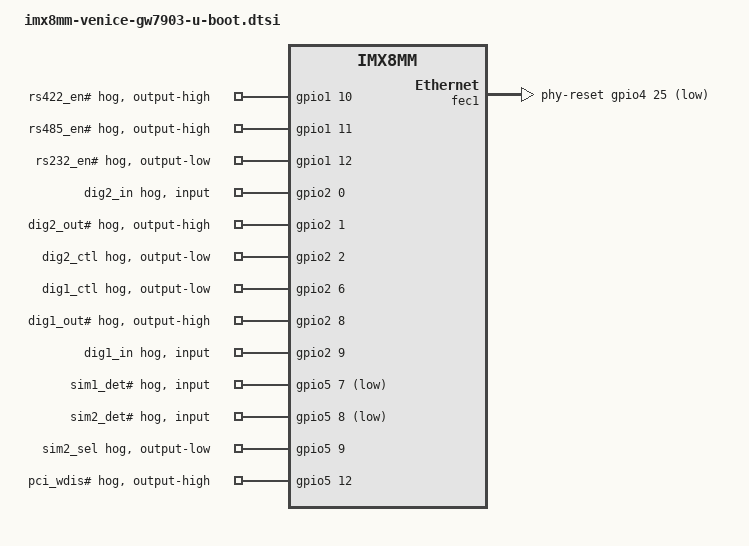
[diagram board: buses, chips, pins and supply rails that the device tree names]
// SPDX-License-Identifier: GPL-2.0+
/*
 * Copyright 2022 Gateworks Corporation
 */

#include "imx8mm-venice-u-boot.dtsi"

&gpio1 {
	rs422en {
		gpio-hog;
		output-high;
		gpios = <10 GPIO_ACTIVE_HIGH>;
		line-name = "rs422_en#";
	};

	rs485en {
		gpio-hog;
		output-high;
		gpios = <11 GPIO_ACTIVE_HIGH>;
		line-name = "rs485_en#";
	};

	rs232en {
		gpio-hog;
		output-low;
		gpios = <12 GPIO_ACTIVE_HIGH>;
		line-name = "rs232_en#";
	};
};

&gpio2 {
	dig2in {
		gpio-hog;
		input;
		gpios = <0 GPIO_ACTIVE_HIGH>;
		line-name = "dig2_in";
	};

	dig2out {
		gpio-hog;
		output-high;
		gpios = <1 GPIO_ACTIVE_HIGH>;
		line-name = "dig2_out#";
	};

	dig2ctl {
		gpio-hog;
		output-low;
		gpios = <2 GPIO_ACTIVE_HIGH>;
		line-name = "dig2_ctl";
	};

	dig1ctl {
		gpio-hog;
		output-low;
		gpios = <6 GPIO_ACTIVE_HIGH>;
		line-name = "dig1_ctl";
	};

	dig1out {
		gpio-hog;
		output-high;
		gpios = <8 GPIO_ACTIVE_HIGH>;
		line-name = "dig1_out#";
	};

	dig1in {
		gpio-hog;
		input;
		gpios = <9 GPIO_ACTIVE_HIGH>;
		line-name = "dig1_in";
	};
};

&gpio5 {
	sim1det {
		gpio-hog;
		input;
		gpios = <7 GPIO_ACTIVE_LOW>;
		line-name = "sim1_det#";
	};

	sim2det {
		gpio-hog;
		input;
		gpios = <8 GPIO_ACTIVE_LOW>;
		line-name = "sim2_det#";
	};

	sim2sel {
		gpio-hog;
		output-low;
		gpios = <9 GPIO_ACTIVE_HIGH>;
		line-name = "sim2_sel";
	};

	pci_wdis {
		gpio-hog;
		output-high;
		gpios = <12 GPIO_ACTIVE_HIGH>;
		line-name = "pci_wdis#";
	};
};

&fec1 {
	phy-reset-gpios = <&gpio4 25 GPIO_ACTIVE_LOW>;
	phy-reset-duration = <1>;
	phy-reset-post-delay = <300>;
};

&pinctrl_fec1 {
	bootph-pre-ram;
};

&{/soc@0/bus@30800000/i2c@30a30000/pmic@4b} {
	bootph-pre-ram;
};

&{/soc@0/bus@30800000/i2c@30a30000/pmic@4b/regulators} {
	bootph-pre-ram;
};

&pinctrl_pmic {
	bootph-pre-ram;
};
